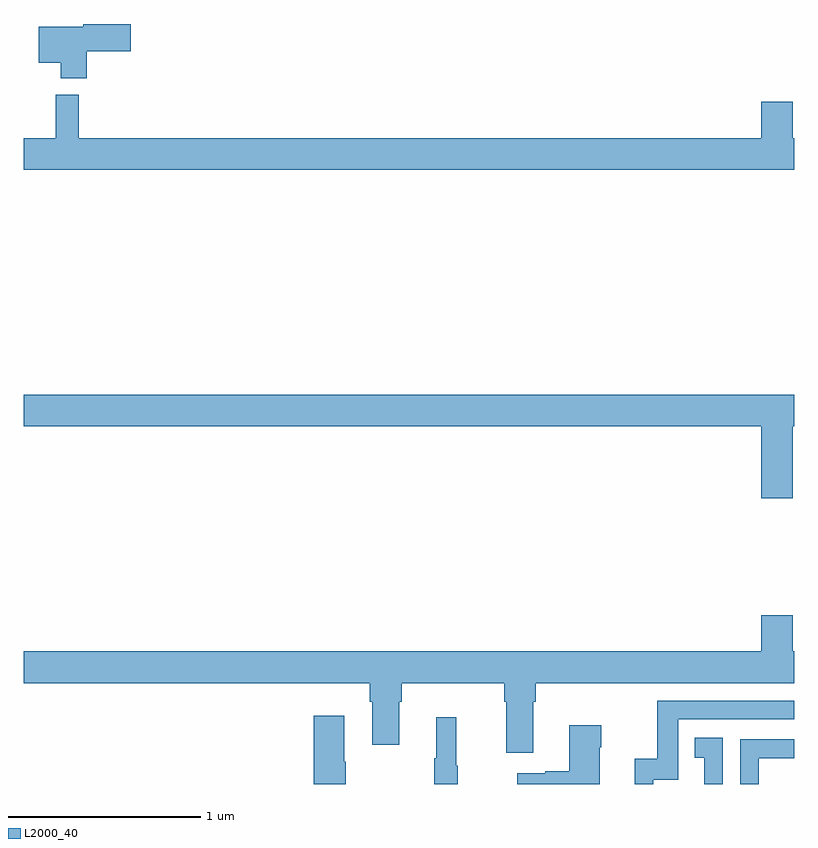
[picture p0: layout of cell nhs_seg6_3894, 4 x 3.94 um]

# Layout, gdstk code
import gdstk
lib = gdstk.Library(unit=1e-6, precision=1e-09)
def P(c, l, *ps):  # polygons
    for p in ps: c.add(gdstk.Polygon(p, *l))
L2000_40 = (2000, 40)

nhs_seg6_3894 = lib.new_cell('nhs_seg6_3894')
P(nhs_seg6_3894, L2000_40, [(341.327,929.302),(341.557,929.302),(341.557,929.444),(341.31,929.444),(341.31,929.431),(341.078,929.431),(341.078,929.243),(341.192,929.243),(341.192,929.162),(341.327,929.162)],
  [(345,928.852),(344.992,928.852),(344.992,929.041),(344.828,929.041),(344.828,928.852),(341.285,928.852),(341.285,929.077),(341.168,929.077),(341.168,928.852),(341,928.852),(341,928.688),(345,928.688)],
  [(344.992,927.356),(345,927.356),(345,927.52),(341,927.52),(341,927.356),(344.828,927.356),(344.828,926.982),(344.992,926.982)],
  [(343.645,925.928),(343.658,925.928),(343.658,926.024),(345,926.024),(345,926.188),(344.992,926.188),(344.992,926.377),(344.828,926.377),(344.828,926.188),(341,926.188),(341,926.024),(342.797,926.024),(342.797,925.928),(342.809,925.928),(342.809,925.704),(342.949,925.704),(342.949,925.928),(342.962,925.928),(342.962,926.024),(343.493,926.024),(343.493,925.928),(343.505,925.928),(343.505,925.662),(343.645,925.662)],
  [(344.268,925.521),(344.397,925.521),(344.397,925.836),(345,925.836),(345,925.932),(344.289,925.932),(344.289,925.63),(344.171,925.63),(344.171,925.5),(344.268,925.5)],
  [(342.672,925.616),(342.664,925.616),(342.664,925.855),(342.506,925.855),(342.506,925.5),(342.672,925.5)],
  [(343.252,925.596),(343.244,925.596),(343.244,925.846),(343.142,925.846),(343.142,925.633),(343.131,925.633),(343.131,925.5),(343.252,925.5)],
  [(343.99,925.691),(343.998,925.691),(343.998,925.804),(343.832,925.804),(343.832,925.565),(343.706,925.565),(343.706,925.555),(343.563,925.555),(343.563,925.5),(343.99,925.5)],
  [(344.628,925.741),(344.482,925.741),(344.482,925.635),(344.531,925.635),(344.531,925.5),(344.628,925.5)],
  [(344.814,925.634),(345,925.634),(345,925.731),(344.718,925.731),(344.718,925.5),(344.814,925.5)])

lib.write_gds('nhs_seg6_3894.gds')
